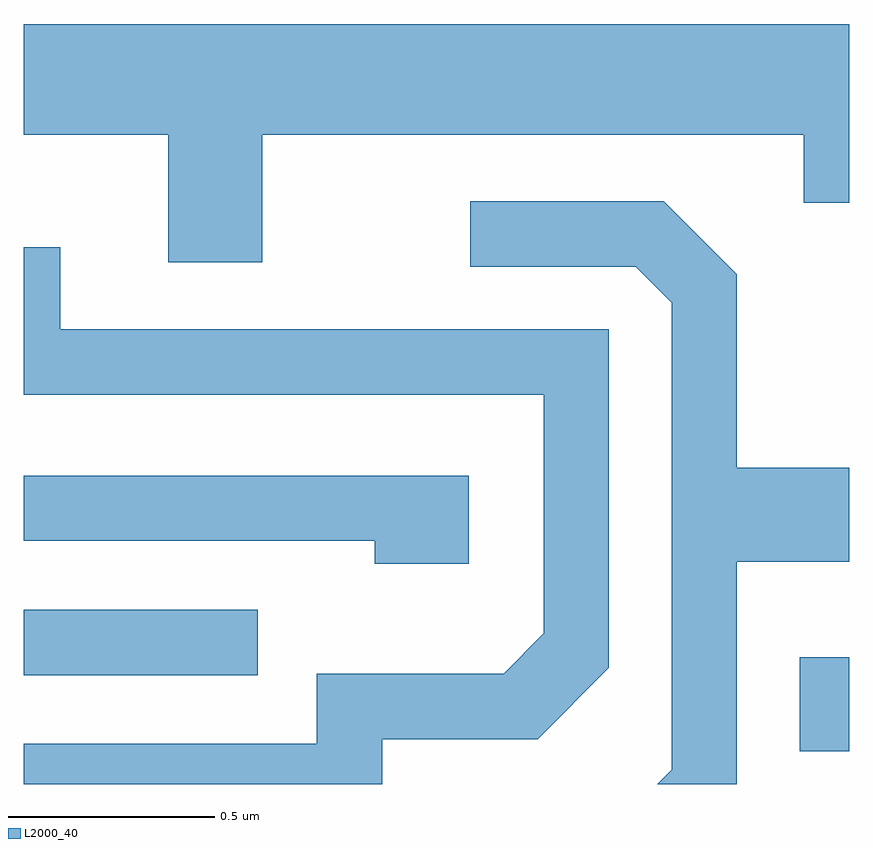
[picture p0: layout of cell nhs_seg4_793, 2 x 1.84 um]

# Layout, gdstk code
import gdstk
lib = gdstk.Library(unit=1e-6, precision=1e-09)
def R(c, l, rs):  # rectangles x0, y0, x1, y1
    for r in rs: c.add(gdstk.rectangle(r[:2], r[2:], *l))
def P(c, l, *ps):  # polygons
    for p in ps: c.add(gdstk.Polygon(p, *l))
L2000_40 = (2000, 40)

nhs_seg4_793 = lib.new_cell('nhs_seg4_793')
R(nhs_seg4_793, L2000_40, [(192.491,1362.061,192.611,1362.289), (190.611,1362.246,191.178,1362.404)])
P(nhs_seg4_793, L2000_40, [(191.189,1363.556),(192.501,1363.556),(192.501,1363.391),(192.611,1363.391),(192.611,1363.824),(190.611,1363.824),(190.611,1363.556),(190.961,1363.556),(190.961,1363.246),(191.189,1363.246)],
  [(192.339,1362.521),(192.611,1362.521),(192.611,1362.749),(192.339,1362.749),(192.339,1363.217),(192.162,1363.394),(191.693,1363.394),(191.693,1363.236),(192.094,1363.236),(192.181,1363.149),(192.181,1362.017),(192.146,1361.982),(192.339,1361.982)],
  [(191.479,1362.091),(191.857,1362.091),(192.029,1362.264),(192.029,1363.084),(190.699,1363.084),(190.699,1363.283),(190.611,1363.283),(190.611,1362.926),(191.871,1362.926),(191.871,1362.347),(191.774,1362.249),(191.321,1362.249),(191.321,1362.079),(190.611,1362.079),(190.611,1361.982),(191.479,1361.982)],
  [(191.689,1362.729),(190.611,1362.729),(190.611,1362.571),(191.461,1362.571),(191.461,1362.516),(191.689,1362.516)])

lib.write_gds('nhs_seg4_793.gds')
